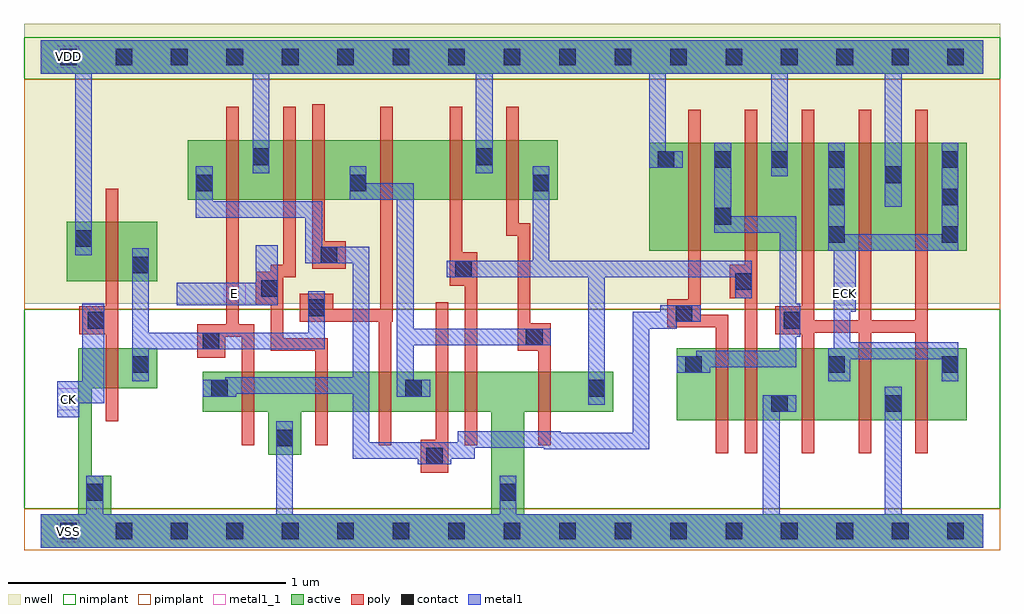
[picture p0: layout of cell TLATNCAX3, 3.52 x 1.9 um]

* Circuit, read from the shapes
.subckt TLATNCAX3 CK E ECK VDD VSS
M1 n1 CK VSS VSS nfet w=0.145u l=0.045u
M2 VSS n1 n2 VSS nfet w=0.145u l=0.045u
M3 n3 E VSS VSS nfet w=0.145u l=0.045u
M4 n4 n1 n3 VSS nfet w=0.145u l=0.045u
M5 n5 n2 n4 VSS nfet w=0.145u l=0.045u
M6 VSS n6 n5 VSS nfet w=0.145u l=0.045u
M7 n6 n4 VSS VSS nfet w=0.145u l=0.045u
M8 n7 n2 n8 VSS nfet w=0.26u l=0.045u
M9 VSS n6 n7 VSS nfet w=0.26u l=0.045u
M10 ECK n8 VSS VSS nfet w=0.26u l=0.045u m=3
M11 n1 CK VDD VDD pfet w=0.215u l=0.045u
M12 VDD n1 n2 VDD pfet w=0.215u l=0.045u
M13 n9 E VDD VDD pfet w=0.215u l=0.045u
M14 n4 n2 n9 VDD pfet w=0.215u l=0.045u
M15 n10 n1 n4 VDD pfet w=0.215u l=0.045u
M16 VDD n6 n10 VDD pfet w=0.215u l=0.045u
M17 n6 n4 VDD VDD pfet w=0.215u l=0.045u
M18 n8 n2 VDD VDD pfet w=0.39u l=0.045u
M19 VDD n6 n8 VDD pfet w=0.39u l=0.045u
M20 ECK n8 VDD VDD pfet w=0.39u l=0.045u m=3
.ends

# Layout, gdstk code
import gdstk
lib = gdstk.Library(unit=1e-6, precision=5e-10)
def R(c, l, rs):  # rectangles x0, y0, x1, y1
    for r in rs: c.add(gdstk.rectangle(r[:2], r[2:], *l))
def A(c, l, x, y, w, h, nx, ny, dx, dy):  # array of equal rectangles
    R(c, l, [(x+i*dx, y+j*dy, x+i*dx+w, y+j*dy+h) for i in range(nx) for j in range(ny)])
def P(c, l, *ps):  # polygons
    for p in ps: c.add(gdstk.Polygon(p, *l))
active = (1, 0)
nwell = (2, 0)
poly = (3, 0)
nimplant = (4, 0)
pimplant = (5, 0)
contact = (6, 0)
metal1 = (7, 0)
metal1_1 = (7, 1)

tlatncax3 = lib.new_cell('TLATNCAX3')
R(tlatncax3, active, [(2.295,0.4,3.34,0.66), (0.095,0.9,0.42,1.115), (2.195,1.01,3.34,1.4), (0.53,1.195,1.865,1.41), (0,1.65,3.4,1.77)])
P(tlatncax3, active, [(0.135,0.66),(0.42,0.66),(0.42,0.515),(0.185,0.515),(0.185,0.2),(0.255,0.2),(0.255,0.06),(1.625,0.06),(1.625,0.43),(0.94,0.43),(0.94,0.275),(0.82,0.275),(0.82,0.43),(0.585,0.43),(0.585,0.575),(2.065,0.575),(2.065,0.43),(1.745,0.43),(1.745,0.06),(3.4,0.06),(3.4,-0.06),(0,-0.06),(0,0.06),(0.135,0.06)])
R(tlatncax3, nwell, [(-0.06,0.82,3.46,1.83)])
P(tlatncax3, poly, [(0.67,1.53),(0.715,1.53),(0.715,0.745),(0.77,0.745),(0.77,0.31),(0.725,0.31),(0.725,0.7),(0.665,0.7),(0.665,0.625),(0.565,0.625),(0.565,0.745),(0.67,0.745)],
  [(0.875,1.53),(0.92,1.53),(0.92,0.915),(0.875,0.915),(0.875,0.695),(1.035,0.695),(1.035,0.31),(0.99,0.31),(0.99,0.65),(0.83,0.65),(0.83,0.815),(0.775,0.815),(0.775,0.935),(0.83,0.935),(0.83,0.96),(0.875,0.96)],
  [(0.98,1.54),(1.025,1.54),(1.025,1.045),(1.1,1.045),(1.1,0.945),(0.98,0.945)],
  [(0.935,0.855),(1.055,0.855),(1.055,0.8),(1.225,0.8),(1.225,1.53),(1.27,1.53),(1.27,0.755),(1.265,0.755),(1.265,0.31),(1.22,0.31),(1.22,0.755),(0.935,0.755)],
  [(1.475,1.53),(1.52,1.53),(1.52,1.005),(1.575,1.005),(1.575,0.31),(1.53,0.31),(1.53,0.885),(1.475,0.885)],
  [(1.68,1.53),(1.725,1.53),(1.725,1.11),(1.765,1.11),(1.765,0.75),(1.84,0.75),(1.84,0.31),(1.795,0.31),(1.795,0.65),(1.72,0.65),(1.72,1.065),(1.68,1.065)],
  [(2.335,1.52),(2.38,1.52),(2.38,0.78),(2.48,0.78),(2.48,0.28),(2.435,0.28),(2.435,0.735),(2.26,0.735),(2.26,0.835),(2.335,0.835)],
  [(2.54,1.52),(2.585,1.52),(2.585,0.28),(2.54,0.28),(2.54,0.84),(2.485,0.84),(2.485,0.96),(2.54,0.96)],
  [(2.745,1.52),(2.79,1.52),(2.79,0.76),(2.95,0.76),(2.95,1.52),(2.995,1.52),(2.995,0.76),(3.155,0.76),(3.155,1.52),(3.2,1.52),(3.2,0.28),(3.155,0.28),(3.155,0.715),(2.995,0.715),(2.995,0.28),(2.95,0.28),(2.95,0.715),(2.79,0.715),(2.79,0.28),(2.745,0.28),(2.745,0.71),(2.65,0.71),(2.65,0.81),(2.745,0.81)],
  [(0.235,1.235),(0.28,1.235),(0.28,0.395),(0.235,0.395),(0.235,0.71),(0.14,0.71),(0.14,0.81),(0.235,0.81)],
  [(1.425,0.825),(1.47,0.825),(1.47,0.21),(1.37,0.21),(1.37,0.33),(1.425,0.33)])
R(tlatncax3, nimplant, [(-0.06,0.08,3.46,0.8), (-0.06,1.63,3.46,1.78)])
R(tlatncax3, pimplant, [(-0.06,-0.07,3.46,0.08), (-0.06,0.8,3.46,1.63)])
A(tlatncax3, contact, 0.07, -0.03, 0.06, 0.06, 17, 2, 0.2, 1.71)
A(tlatncax3, contact, 3.25, 1.04, 0.06, 0.06, 1, 3, 0, 0.135)
A(tlatncax3, contact, 2.225, 1.31, 0.06, 0.06, 4, 1, 0.205, 0)
R(tlatncax3, contact, [(0.165,0.11,0.225,0.17), (1.655,0.11,1.715,0.17), (1.39,0.24,1.45,0.3), (0.85,0.305,0.91,0.365), (2.635,0.43,2.695,0.49), (3.045,0.43,3.105,0.49), (0.615,0.485,0.675,0.545), (1.315,0.485,1.375,0.545), (1.975,0.485,2.035,0.545), (0.33,0.57,0.39,0.63), (2.325,0.57,2.385,0.63), (2.84,0.57,2.9,0.63), (3.25,0.57,3.31,0.63), (0.585,0.655,0.645,0.715), (1.75,0.67,1.81,0.73), (0.17,0.73,0.23,0.79), (2.68,0.73,2.74,0.79), (2.29,0.755,2.35,0.815), (0.965,0.775,1.025,0.835), (0.795,0.845,0.855,0.905), (2.505,0.87,2.565,0.93), (1.495,0.915,1.555,0.975), (0.33,0.93,0.39,0.99), (1.01,0.965,1.07,1.025), (0.125,1.025,0.185,1.085), (2.84,1.04,2.9,1.1), (2.43,1.105,2.49,1.165), (2.84,1.175,2.9,1.235), (0.56,1.225,0.62,1.285), (1.115,1.225,1.175,1.285), (1.775,1.225,1.835,1.285), (3.045,1.255,3.105,1.315), (0.765,1.32,0.825,1.38), (1.57,1.32,1.63,1.38)])
P(tlatncax3, metal1, [(0,1.77),(3.4,1.77),(3.4,1.65),(3.105,1.65),(3.105,1.17),(3.045,1.17),(3.045,1.65),(2.695,1.65),(2.695,1.28),(2.635,1.28),(2.635,1.65),(2.255,1.65),(2.255,1.37),(2.315,1.37),(2.315,1.31),(2.195,1.31),(2.195,1.65),(1.63,1.65),(1.63,1.29),(1.57,1.29),(1.57,1.65),(0.825,1.65),(0.825,1.29),(0.765,1.29),(0.765,1.65),(0.185,1.65),(0.185,0.995),(0.125,0.995),(0.125,1.65),(0,1.65)],
  [(0.56,1.315),(0.62,1.315),(0.62,1.19),(1.015,1.19),(1.015,1.025),(1.185,1.025),(1.185,0.32),(1.505,0.32),(1.505,0.36),(1.875,0.36),(1.875,0.355),(2.135,0.355),(2.135,0.79),(2.235,0.79),(2.235,0.815),(2.38,0.815),(2.38,0.755),(2.295,0.755),(2.295,0.73),(2.195,0.73),(2.195,0.295),(1.815,0.295),(1.815,0.3),(1.565,0.3),(1.565,0.26),(1.48,0.26),(1.48,0.24),(1.36,0.24),(1.36,0.26),(1.125,0.26),(1.125,0.495),(0.705,0.495),(0.705,0.485),(0.585,0.485),(0.585,0.545),(0.665,0.545),(0.665,0.555),(1.125,0.555),(1.125,0.965),(0.955,0.965),(0.955,1.13),(0.56,1.13)],
  [(1.115,1.315),(1.175,1.315),(1.175,1.255),(1.345,1.255),(1.345,0.73),(1.84,0.73),(1.84,0.67),(1.345,0.67),(1.345,0.545),(1.405,0.545),(1.405,0.485),(1.285,0.485),(1.285,1.195),(1.115,1.195)],
  [(2.43,1.4),(2.49,1.4),(2.49,1.135),(2.725,1.135),(2.725,0.82),(2.74,0.82),(2.74,0.7),(2.725,0.7),(2.725,0.59),(2.415,0.59),(2.415,0.57),(2.295,0.57),(2.295,0.63),(2.365,0.63),(2.365,0.65),(2.665,0.65),(2.665,1.075),(2.43,1.075)],
  [(1.775,1.315),(1.835,1.315),(1.835,0.975),(2.565,0.975),(2.565,0.84),(2.505,0.84),(2.505,0.915),(2.035,0.915),(2.035,0.455),(1.975,0.455),(1.975,0.915),(1.465,0.915),(1.465,0.975),(1.775,0.975)],
  [(0.33,1.02),(0.39,1.02),(0.39,0.715),(0.965,0.715),(0.965,0.865),(1.025,0.865),(1.025,0.655),(0.39,0.655),(0.39,0.54),(0.33,0.54)],
  [(0.775,1.03),(0.855,1.03),(0.855,0.815),(0.49,0.815),(0.49,0.895),(0.775,0.895)],
  [(0.15,0.82),(0.23,0.82),(0.23,0.46),(0.14,0.46),(0.14,0.41),(0.06,0.41),(0.06,0.54),(0.15,0.54)],
  [(2.84,1.4),(2.9,1.4),(2.9,1.07),(3.25,1.07),(3.25,1.4),(3.31,1.4),(3.31,1.01),(2.94,1.01),(2.94,0.79),(2.92,0.79),(2.92,0.68),(3.31,0.68),(3.31,0.54),(3.25,0.54),(3.25,0.62),(2.92,0.62),(2.92,0.54),(2.84,0.54),(2.84,0.66),(2.86,0.66),(2.86,1.01),(2.84,1.01)],
  [(2.605,0.49),(2.725,0.49),(2.725,0.43),(2.665,0.43),(2.665,0.06),(3.045,0.06),(3.045,0.52),(3.105,0.52),(3.105,0.06),(3.4,0.06),(3.4,-0.06),(0,-0.06),(0,0.06),(0.165,0.06),(0.165,0.2),(0.225,0.2),(0.225,0.06),(0.85,0.06),(0.85,0.395),(0.91,0.395),(0.91,0.06),(1.655,0.06),(1.655,0.2),(1.715,0.2),(1.715,0.06),(2.605,0.06)])
R(tlatncax3, metal1_1, [(0.06,-0.04,0.14,0.04), (0.06,0.435,0.14,0.515), (0.66,0.815,0.74,0.895), (2.86,0.815,2.94,0.895), (0.06,1.67,0.14,1.75)])
tlatncax3.add(gdstk.Label('ECK', (2.9,0.855), layer=7, texttype=1))
tlatncax3.add(gdstk.Label('E', (0.7,0.855), layer=7, texttype=1))
tlatncax3.add(gdstk.Label('CK', (0.1,0.475), layer=7, texttype=1))
tlatncax3.add(gdstk.Label('VDD', (0.1,1.71), layer=7, texttype=1))
tlatncax3.add(gdstk.Label('VSS', (0.1,0), layer=7, texttype=1))
tlatncax3.add(gdstk.Label('TLATNCAX3', (0,0), layer=63, texttype=0))

lib.write_gds('TLATNCAX3.gds')
